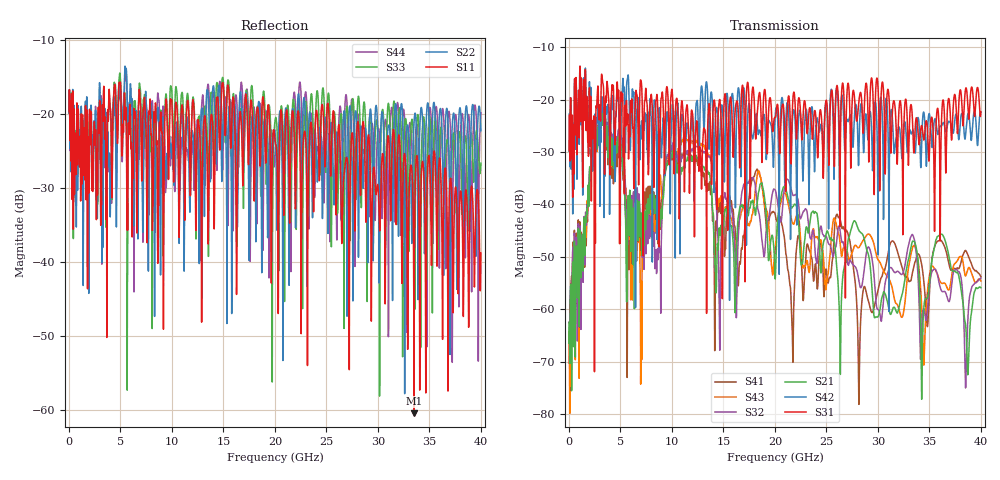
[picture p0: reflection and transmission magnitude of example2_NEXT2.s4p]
! File created by SignalIntegrity v1.2.0: Signal and Power Integrity Tools
! https://github.com/TeledyneLeCroy/SignalIntegrity
# MHz S MA R 50.0
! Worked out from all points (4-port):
!   4000 points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, 10 MHz to 40 GHz, reference 50 ohm
!   strongest paths, dB at 10 MHz, 10.01 GHz, 20.01 GHz, 30.01 GHz, 40 GHz:
!     S31: -29.8, -18.2, -23.4, -17.7, -22.4
!     S42: -29.9, -21.7, -23.7, -49.6, -22.4
!     S21: -66.5, -30.4, -54.1, -61.4, -55.9
!     S32: -62.5, -29.6, -37.2, -60.1, -54.0
!     S43: -64.4, -29.9, -49.1, -50.6, -54.6
!     S41: -70.3, -30.9, -41.8, -56.4, -53.8
!   lowest |S11| = -60.4 dB at 33.5 GHz (marker M1), VSWR 1.00, Z = 49.9 + j0.0324 ohm
!   |S11| at or under -10 dB: start of sweep to end of sweep
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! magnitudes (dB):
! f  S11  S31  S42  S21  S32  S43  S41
! 10 MHz  -19.7  -29.8  -29.9  -66.5  -62.5  -64.4  -70.3
! 3.19 GHz  -22.9  -15.4  -19.6  -22.7  -22.4  -22.4  -22.5
! 7.07 GHz  -29.0  -18.0  -24.3  -47.1  -44.2  -67.0  -49.5
! 11.28 GHz  -30.4  -27.0  -32.7  -32.0  -30.0  -27.3  -30.1
! 21.69 GHz  -19.6  -22.1  -24.1  -40.5  -38.0  -43.5  -64.7
! 33.5 GHz  -60.4  -30.1  -27.0  -47.1  -46.4  -47.8  -51.8
! 40 GHz  -38.8  -22.4  -22.4  -55.9  -54.0  -54.6  -53.8
